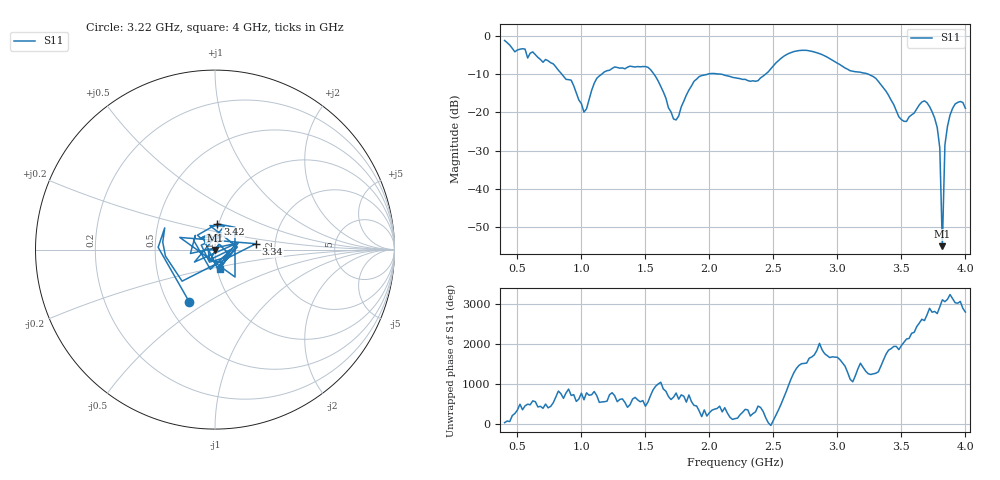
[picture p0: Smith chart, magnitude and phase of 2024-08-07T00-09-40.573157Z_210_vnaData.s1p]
!Created with skrf (http://scikit-rf.org).
# Hz S RI R 50.0
!freq ReS11 ImS11
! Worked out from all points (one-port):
!   181 points, 400 MHz to 4 GHz, reference 50 ohm
!   lowest |S11| = -55.0 dB at 3.82 GHz (marker M1), VSWR 1.00, Z = 49.9 - j0.135 ohm
!   |S11| at or under -10 dB: 1.567 GHz to 1.988 GHz (421.2 MHz wide, 23.7 % of centre); 2.087 GHz to 2.439 GHz (351.7 MHz wide, 15.5 % of centre); 3.241 GHz to end of sweep (the widest 3 of 4)
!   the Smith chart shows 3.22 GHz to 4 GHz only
!   S11 on the Smith chart (normalised r, x): 3.22 GHz: 0.64, -0.42; 3.34 GHz: 1.59, +0.11; 3.42 GHz: 0.98, +0.29; 4 GHz: 1.03, -0.23
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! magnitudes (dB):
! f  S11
! 400 MHz  -1.2
! 860 MHz  -10.6
! 920 MHz  -11.6
! 1.02 GHz  -19.9
! 1.12 GHz  -11.1
! 1.3 GHz  -8.4
! 1.52 GHz  -8.2
! 1.6 GHz  -11.8
! 1.72 GHz  -21.7
! 1.76 GHz  -20.9
! 1.92 GHz  -10.6
! 2.2 GHz  -10.9
! 2.38 GHz  -11.7
! 2.66 GHz  -4.1
! 3.1 GHz  -9.1
! 3.22 GHz  -9.8
! 3.34 GHz  -12.8
! 3.42 GHz  -16.8
! 3.5 GHz  -21.9
! 3.56 GHz  -21.2
! 3.68 GHz  -17.0
! 3.78 GHz  -24.0
! 3.8 GHz  -29.3
! 3.82 GHz  -55.0
! 3.84 GHz  -28.5
! 3.86 GHz  -23.7
! 3.92 GHz  -17.8
! 4 GHz  -18.9
